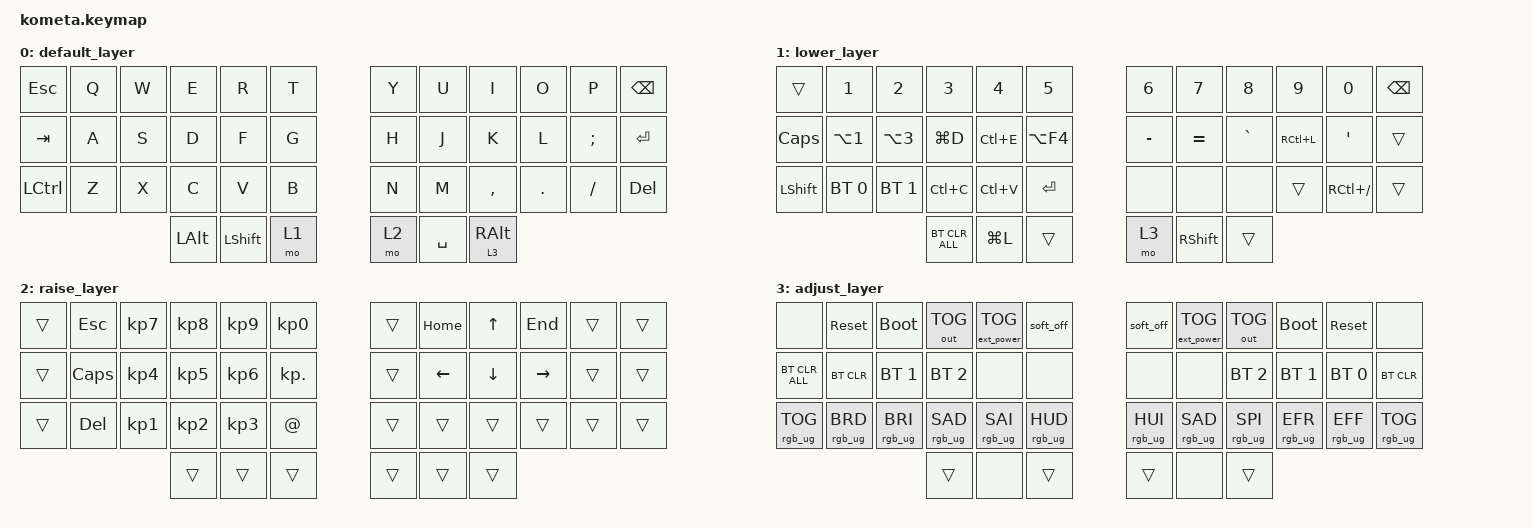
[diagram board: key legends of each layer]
#include <behaviors.dtsi>
#include <dt-bindings/zmk/bt.h>
#include <dt-bindings/zmk/ext_power.h>
#include <dt-bindings/zmk/keys.h>
#include <dt-bindings/zmk/outputs.h>
#include <dt-bindings/zmk/rgb.h>

#define DEF 0
#define LWR 1
#define RSE 2
#define ADJ 3

/ {
};

/ {
    combos {
        compatible = "zmk,combos";

        combo1 {
            bindings = <&kp LBKT>;
            key-positions = <3 4>;
        };

        combo2 {
            bindings = <&kp RBKT>;
            key-positions = <7 8>;
        };

        combo3 {
            bindings = <&kp LEFT_PARENTHESIS>;
            key-positions = <15 16>;
        };

        combo4 {
            bindings = <&kp RIGHT_PARENTHESIS>;
            key-positions = <19 20>;
        };

        combo5 {
            bindings = <&kp LEFT_BRACE>;
            key-positions = <27 28>;
        };

        combo6 {
            bindings = <&kp RIGHT_BRACE>;
            key-positions = <31 32>;
        };

        combo7 {
            bindings = <&kp BACKSLASH>;
            key-positions = <5 6>;
        };

        combo8 {
            bindings = <&kp PIPE>;
            key-positions = <17 18>;
        };

        combo9 {
            bindings = <&kp ENTER>;
            key-positions = <21 22>;
        };
    };

    behaviors {
        hr: hr {
            compatible = "zmk,behavior-hold-tap";
            label = "home_row";
            bindings = <&kp>, <&kp>;

            #binding-cells = <2>;
            tapping-term-ms = <180>;
            quick-tap-ms = <250>;
            flavor = "tap-preferred";
        };

        ltq: ltq {
            compatible = "zmk,behavior-hold-tap";
            label = "LTQ";
            bindings = <&mo>, <&kp>;

            #binding-cells = <2>;
            tapping-term-ms = <200>;
            quick-tap-ms = <180>;
        };
    };

    keymap {
        compatible = "zmk,keymap";

        default_layer {
            bindings = <
&kp ESC    &kp Q  &kp W  &kp E     &kp R      &kp T  &kp Y  &kp U      &kp I            &kp O    &kp P     &kp BSPC
&kp TAB    &kp A  &kp S  &kp D     &kp F      &kp G  &kp H  &kp J      &kp K            &kp L    &kp SEMI  &kp ENTER
&kp LCTRL  &kp Z  &kp X  &kp C     &kp V      &kp B  &kp N  &kp M      &kp COMMA        &kp DOT  &kp FSLH  &kp DEL
                         &kp LALT  &kp LSHFT  &mo 1  &mo 2  &kp SPACE  &lt 3 RIGHT_ALT
            >;
        };

        lower_layer {
            bindings = <
&trans          &kp NUMBER_1      &kp NUMBER_2      &kp NUMBER_3    &kp NUMBER_4  &kp NUMBER_5  &kp NUMBER_6  &kp NUMBER_7  &kp NUMBER_8  &kp NUMBER_9  &kp NUMBER_0   &kp BSPC
&kp CAPS        &kp LA(NUMBER_1)  &kp LA(NUMBER_3)  &kp LG(D)       &kp LC(E)     &kp LA(F4)    &kp MINUS     &kp EQUAL     &kp GRAVE     &kp RC(L)     &kp SQT        &trans
&kp LEFT_SHIFT  &bt BT_SEL 0      &bt BT_SEL 1      &kp LC(C)       &kp LC(V)     &kp ENTER     &none         &none         &none         &trans        &kp RC(SLASH)  &trans
                                                    &bt BT_CLR_ALL  &kp LG(L)     &trans        &mo 3         &kp RSHIFT    &trans
            >;
        };

        raise_layer {
            bindings = <
&trans  &kp ESC   &kp KP_NUMBER_7  &kp KP_NUMBER_8  &kp KP_NUMBER_9  &kp KP_NUMBER_0  &trans  &kp HOME  &kp UP    &kp END    &trans  &trans
&trans  &kp CAPS  &kp KP_NUMBER_4  &kp KP_NUMBER_5  &kp KP_NUMBER_6  &kp KP_DOT       &trans  &kp LEFT  &kp DOWN  &kp RIGHT  &trans  &trans
&trans  &kp DEL   &kp KP_NUMBER_1  &kp KP_NUMBER_2  &kp KP_NUMBER_3  &kp AT_SIGN      &trans  &trans    &trans    &trans     &trans  &trans
                                   &trans           &trans           &trans           &trans  &trans    &trans
            >;
        };

        adjust_layer {
            bindings = <
&none            &sys_reset       &bootloader      &out OUT_TOG     &ext_power EP_TOG  &soft_off        &soft_off        &ext_power EP_TOG  &out OUT_TOG     &bootloader      &sys_reset       &none
&bt BT_CLR_ALL   &bt BT_CLR       &bt BT_SEL 1     &bt BT_SEL 2     &none              &none            &none            &none              &bt BT_SEL 2     &bt BT_SEL 1     &bt BT_SEL 0     &bt BT_CLR
&rgb_ug RGB_TOG  &rgb_ug RGB_BRD  &rgb_ug RGB_BRI  &rgb_ug RGB_SAD  &rgb_ug RGB_SAI    &rgb_ug RGB_HUD  &rgb_ug RGB_HUI  &rgb_ug RGB_SAD    &rgb_ug RGB_SPI  &rgb_ug RGB_EFR  &rgb_ug RGB_EFF  &rgb_ug RGB_TOG
                                                   &trans           &none              &trans           &trans           &none              &trans
            >;
        };
    };
};
